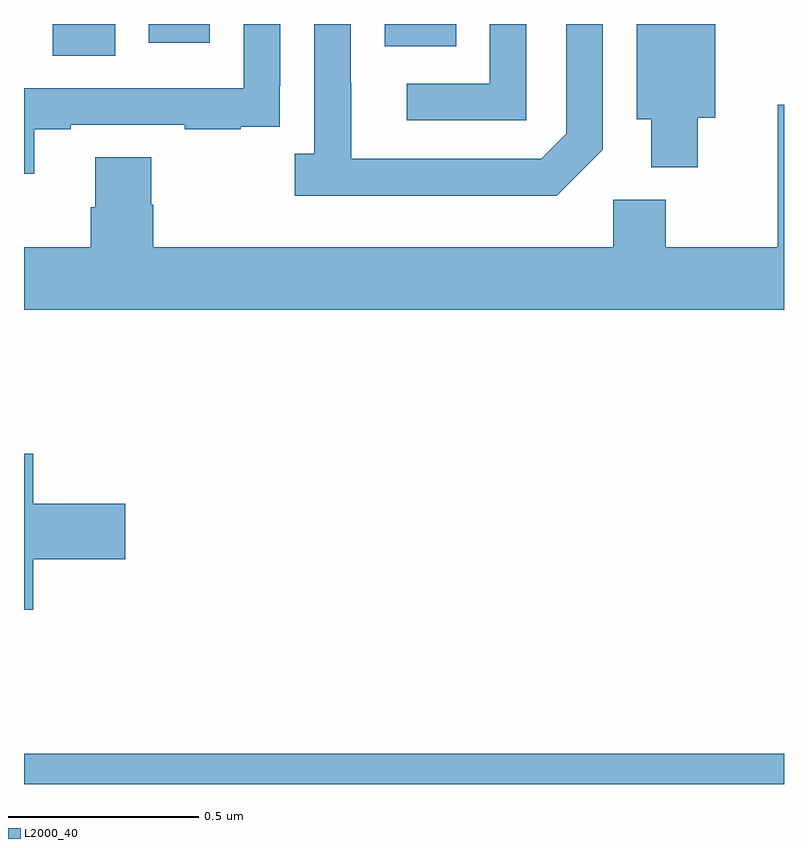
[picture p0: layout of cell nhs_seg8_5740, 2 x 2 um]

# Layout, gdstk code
import gdstk
lib = gdstk.Library(unit=1e-6, precision=1e-09)
def R(c, l, rs):  # rectangles x0, y0, x1, y1
    for r in rs: c.add(gdstk.rectangle(r[:2], r[2:], *l))
def P(c, l, *ps):  # polygons
    for p in ps: c.add(gdstk.Polygon(p, *l))
L2000_40 = (2000, 40)

nhs_seg8_5740 = lib.new_cell('nhs_seg8_5740')
R(nhs_seg8_5740, L2000_40, [(187,1133.9,189,1133.98), (187.076,1135.816,187.24,1135.9), (187.949,1135.841,188.137,1135.9), (187.328,1135.851,187.489,1135.9)])
P(nhs_seg8_5740, L2000_40, [(188.322,1135.9),(188.226,1135.9),(188.226,1135.743),(188.007,1135.743),(188.007,1135.647),(188.322,1135.647)],
  [(188.523,1135.569),(188.523,1135.9),(188.427,1135.9),(188.427,1135.611),(188.361,1135.545),(187.861,1135.545),(187.861,1135.745),(187.86,1135.745),(187.86,1135.9),(187.764,1135.9),(187.764,1135.558),(187.713,1135.558),(187.713,1135.448),(188.402,1135.448)],
  [(187.027,1135.623),(187.123,1135.623),(187.123,1135.635),(187.423,1135.635),(187.423,1135.623),(187.571,1135.623),(187.571,1135.629),(187.673,1135.629),(187.673,1135.738),(187.674,1135.738),(187.674,1135.9),(187.578,1135.9),(187.578,1135.731),(187,1135.731),(187,1135.506),(187.027,1135.506)],
  [(188.773,1135.653),(188.819,1135.653),(188.819,1135.9),(188.612,1135.9),(188.612,1135.649),(188.651,1135.649),(188.651,1135.523),(188.773,1135.523)],
  [(189,1135.687),(188.984,1135.687),(188.984,1135.312),(188.689,1135.312),(188.689,1135.438),(188.55,1135.438),(188.55,1135.312),(187.34,1135.312),(187.34,1135.425),(187.335,1135.425),(187.335,1135.55),(187.187,1135.55),(187.187,1135.418),(187.175,1135.418),(187.175,1135.312),(187,1135.312),(187,1135.148),(189,1135.148)],
  [(187.024,1134.491),(187.267,1134.491),(187.267,1134.638),(187.024,1134.638),(187.024,1134.769),(187,1134.769),(187,1134.359),(187.024,1134.359)])

lib.write_gds('nhs_seg8_5740.gds')
